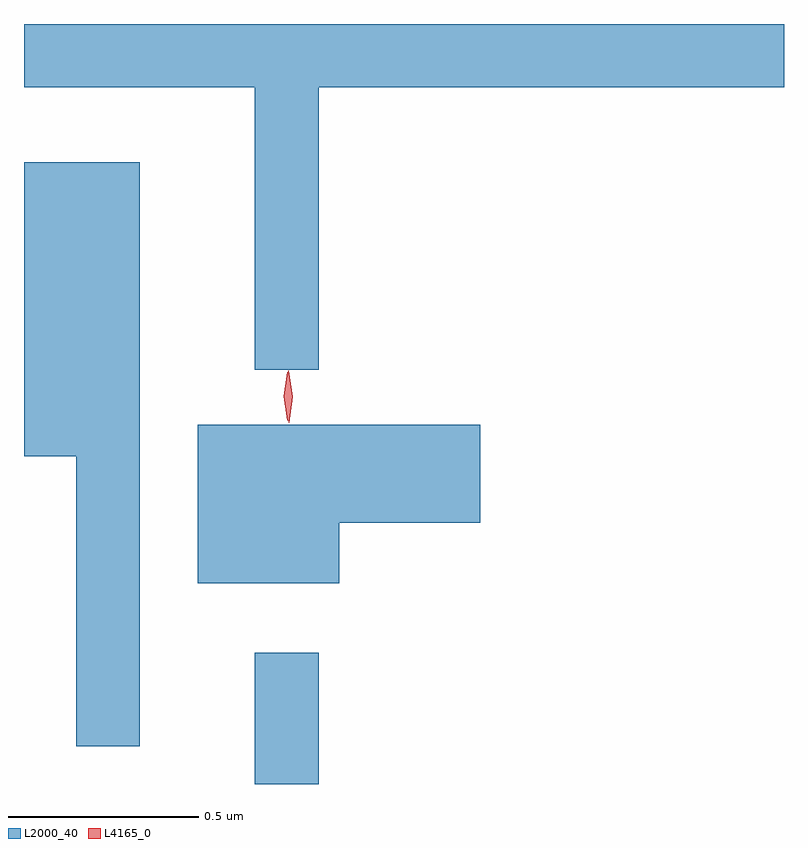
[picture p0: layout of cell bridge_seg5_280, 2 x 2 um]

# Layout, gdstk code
import gdstk
lib = gdstk.Library(unit=1e-6, precision=1e-09)
def R(c, l, rs):  # rectangles x0, y0, x1, y1
    for r in rs: c.add(gdstk.rectangle(r[:2], r[2:], *l))
def P(c, l, *ps):  # polygons
    for p in ps: c.add(gdstk.Polygon(p, *l))
L2000_40 = (2000, 40)
L4165_0 = (4165, 0)

bridge_seg5_280 = lib.new_cell('bridge_seg5_280')
R(bridge_seg5_280, L2000_40, [(975.621,1486.043,975.789,1486.388)])
P(bridge_seg5_280, L2000_40, [(975.789,1487.876),(977.014,1487.876),(977.014,1488.043),(975.014,1488.043),(975.014,1487.876),(975.621,1487.876),(975.621,1487.133),(975.789,1487.133)],
  [(975.319,1487.679),(975.014,1487.679),(975.014,1486.906),(975.151,1486.906),(975.151,1486.143),(975.319,1486.143)],
  [(975.844,1486.731),(976.214,1486.731),(976.214,1486.989),(975.471,1486.989),(975.471,1486.571),(975.844,1486.571)])
P(bridge_seg5_280, L4165_0, [(975.711,1486.994),(975.701,1487.062),(975.71,1487.13),(975.71,1487.13),(975.711,1487.13),(975.721,1487.062),(975.712,1486.994),(975.712,1486.994)],
  [(975.707,1487),(975.698,1487.063),(975.707,1487.126),(975.708,1487.127),(975.708,1487.126),(975.718,1487.063),(975.708,1487),(975.708,1487)])

lib.write_gds('bridge_seg5_280.gds')
